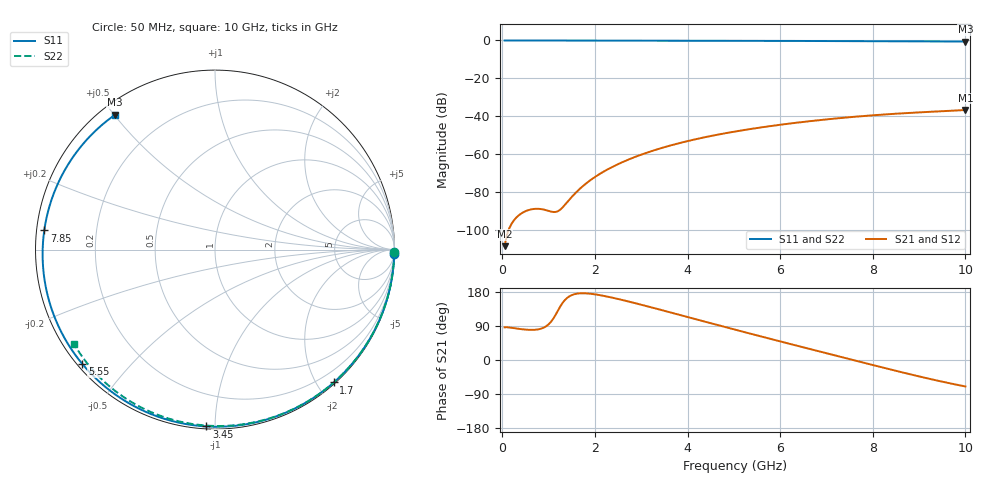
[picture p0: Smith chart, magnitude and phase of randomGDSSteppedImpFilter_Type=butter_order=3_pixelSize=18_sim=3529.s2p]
! freq	dB(S11)	phase(S11)	dB(S12)	phase(S12)
!  dB(S21)	phase(S21)	dB(S22)	phase(S22)
!S-par simulation data
#  GHz  S  DB  R 50
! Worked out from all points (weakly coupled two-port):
!   200 points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, 50 MHz to 10 GHz, reference 50 ohm
!   highest |S21| = -36.72 dB at 10 GHz (marker M1); lowest = -108.6 dB at 50 MHz (marker M2)
!   lowest |S11| = -0.6 dB at 10 GHz (marker M3), VSWR 29.82, Z = 2.1 + j25.1 ohm
!   |S11| at or under -10 dB: nowhere
!   |S22| runs from -0.5 to 0.0 dB; largest |S21 - S12| = 0
!   S11 on the Smith chart (normalised r, x): 50 MHz: 2, -82; 1.7 GHz: 0.02, -2.24; 3.45 GHz: 0.01, -0.95; 5.55 GHz: 0.01, -0.37; 7.85 GHz: 0.02, +0.06; 10 GHz: 0.04, +0.50
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0.05  -0.00 -1.4  -108.58 86.3  -108.58 86.3  -0.01 -0.8
0.4  -0.02 -11.6  -91.49 81.5  -91.49 81.5  -0.01 -6.8
0.8  -0.03 -23.1  -88.91 81.5  -88.91 81.5  -0.02 -13.5
1.2  -0.04 -34.4  -90.15 130.1  -90.15 130.1  -0.03 -20.2
1.6  -0.06 -45.5  -80.04 174.8  -80.04 174.8  -0.03 -26.8
1.7  -0.06 -48.2  -77.73 176.0  -77.73 176.0  -0.04 -28.5
1.75  -0.06 -49.5  -76.67 176.1  -76.67 176.1  -0.04 -29.3
2.05  -0.07 -57.6  -71.29 172.4  -71.29 172.4  -0.04 -34.2
2.45  -0.08 -68.0  -65.87 162.5  -65.87 162.5  -0.05 -40.6
2.9  -0.10 -79.4  -61.18 149.0  -61.18 149.0  -0.06 -47.8
3.4  -0.12 -91.6  -57.07 133.1  -57.07 133.1  -0.07 -55.6
3.45  -0.12 -92.8  -56.70 131.4  -56.70 131.4  -0.08 -56.4
4.2  -0.15 -110.1  -52.00 106.9  -52.00 106.9  -0.10 -67.8
5.05  -0.18 -128.7  -47.97 79.3  -47.97 79.3  -0.12 -80.3
5.55  -0.21 -139.2  -46.03 63.3  -46.03 63.3  -0.14 -87.4
6.15  -0.25 -151.6  -44.04 44.4  -44.04 44.4  -0.17 -95.7
6.7  -0.29 -162.8  -42.45 27.2  -42.45 27.2  -0.20 -103.2
7.3  -0.33 -175.1  -40.96 8.5  -40.96 8.5  -0.24 -111.2
7.85  -0.38 173.6  -39.79 -8.6  -39.79 -8.6  -0.28 -118.5
8.35  -0.42 163.1  -38.91 -24.0  -38.91 -24.0  -0.32 -124.9
9.15  -0.50 145.9  -37.78 -47.6  -37.78 -47.6  -0.39 -135.2
10  -0.58 126.6  -36.72 -69.8  -36.72 -69.8  -0.49 -146.2
